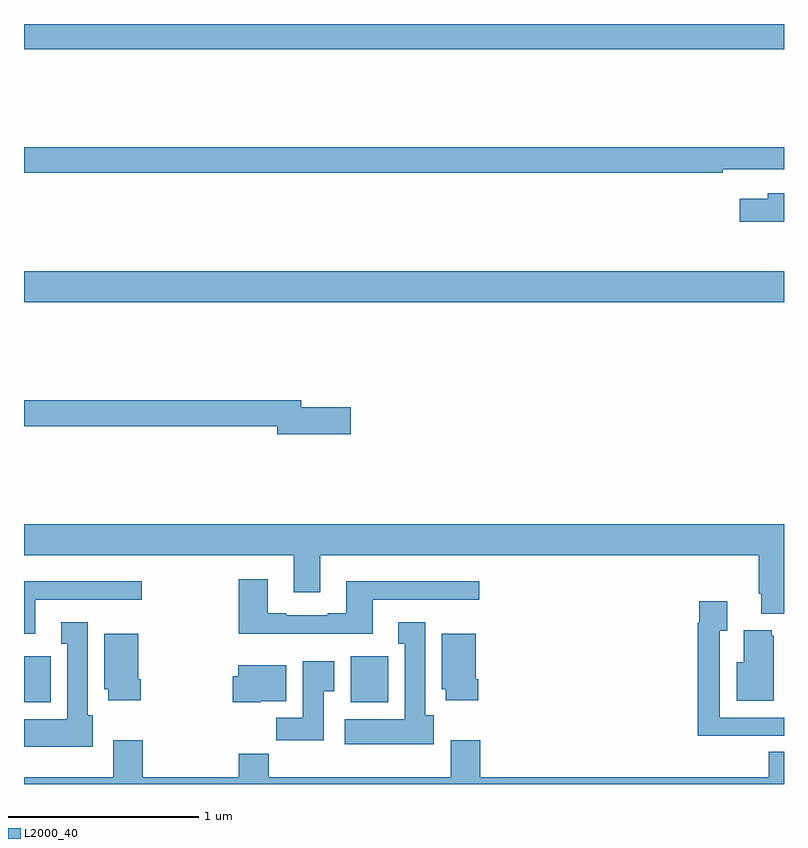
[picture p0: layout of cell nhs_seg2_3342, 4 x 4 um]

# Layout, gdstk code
import gdstk
lib = gdstk.Library(unit=1e-6, precision=1e-09)
def R(c, l, rs):  # rectangles x0, y0, x1, y1
    for r in rs: c.add(gdstk.rectangle(r[:2], r[2:], *l))
def P(c, l, *ps):  # polygons
    for p in ps: c.add(gdstk.Polygon(p, *l))
L2000_40 = (2000, 40)

nhs_seg2_3342 = lib.new_cell('nhs_seg2_3342')
R(nhs_seg2_3342, L2000_40, [(287,612.23,287.14,612.472), (288.719,612.23,288.916,612.472), (287,614.336,291,614.5), (287,615.668,291,615.8)])
P(nhs_seg2_3342, L2000_40, [(290.678,615.036),(291,615.036),(291,615.152),(287,615.152),(287,615.016),(290.678,615.016)],
  [(291,614.91),(290.915,614.91),(290.915,614.881),(290.766,614.881),(290.766,614.759),(291,614.759)],
  [(288.721,613.784),(288.46,613.784),(288.46,613.82),(287,613.82),(287,613.684),(288.332,613.684),(288.332,613.642),(288.721,613.642)],
  [(291,613.168),(287,613.168),(287,613.004),(288.419,613.004),(288.419,612.81),(288.559,612.81),(288.559,613.004),(290.867,613.004),(290.867,612.802),(290.879,612.802),(290.879,612.695),(291,612.695)],
  [(288.835,612.771),(289.396,612.771),(289.396,612.868),(288.695,612.868),(288.695,612.7),(288.599,612.7),(288.599,612.687),(288.379,612.687),(288.379,612.7),(288.283,612.7),(288.283,612.877),(288.131,612.877),(288.131,612.59),(288.835,612.59)],
  [(287.059,612.771),(287.62,612.771),(287.62,612.868),(287,612.868),(287,612.59),(287.059,612.59)],
  [(290.837,612.054),(291,612.054),(291,612.15),(290.661,612.15),(290.661,612.607),(290.701,612.607),(290.701,612.763),(290.553,612.763),(290.553,612.65),(290.545,612.65),(290.545,612.053),(290.837,612.053)],
  [(289.156,612.162),(289.111,612.162),(289.111,612.652),(288.971,612.652),(288.971,612.539),(289.004,612.539),(289.004,612.142),(288.687,612.142),(288.687,612.008),(289.156,612.008)],
  [(287.362,612.162),(287.335,612.162),(287.335,612.652),(287.195,612.652),(287.195,612.539),(287.228,612.539),(287.228,612.142),(287,612.142),(287,611.996),(287.362,611.996)],
  [(290.947,612.579),(290.936,612.579),(290.936,612.61),(290.789,612.61),(290.789,612.442),(290.75,612.442),(290.75,612.239),(290.947,612.239)],
  [(289.391,612.352),(289.378,612.352),(289.378,612.592),(289.199,612.592),(289.199,612.3),(289.22,612.3),(289.22,612.24),(289.391,612.24)],
  [(287.615,612.352),(287.602,612.352),(287.602,612.592),(287.423,612.592),(287.423,612.3),(287.444,612.3),(287.444,612.24),(287.615,612.24)],
  [(288.577,612.289),(288.634,612.289),(288.634,612.445),(288.467,612.445),(288.467,612.148),(288.328,612.148),(288.328,612.03),(288.577,612.03)],
  [(288.246,612.236),(288.379,612.236),(288.379,612.424),(288.128,612.424),(288.128,612.366),(288.098,612.366),(288.098,612.23),(288.246,612.23)],
  [(291,611.969),(290.921,611.969),(290.921,611.836),(289.4,611.836),(289.4,612.031),(289.247,612.031),(289.247,611.836),(288.287,611.836),(288.287,611.96),(288.131,611.96),(288.131,611.836),(287.624,611.836),(287.624,612.031),(287.471,612.031),(287.471,611.836),(287,611.836),(287,611.8),(291,611.8)])

lib.write_gds('nhs_seg2_3342.gds')
